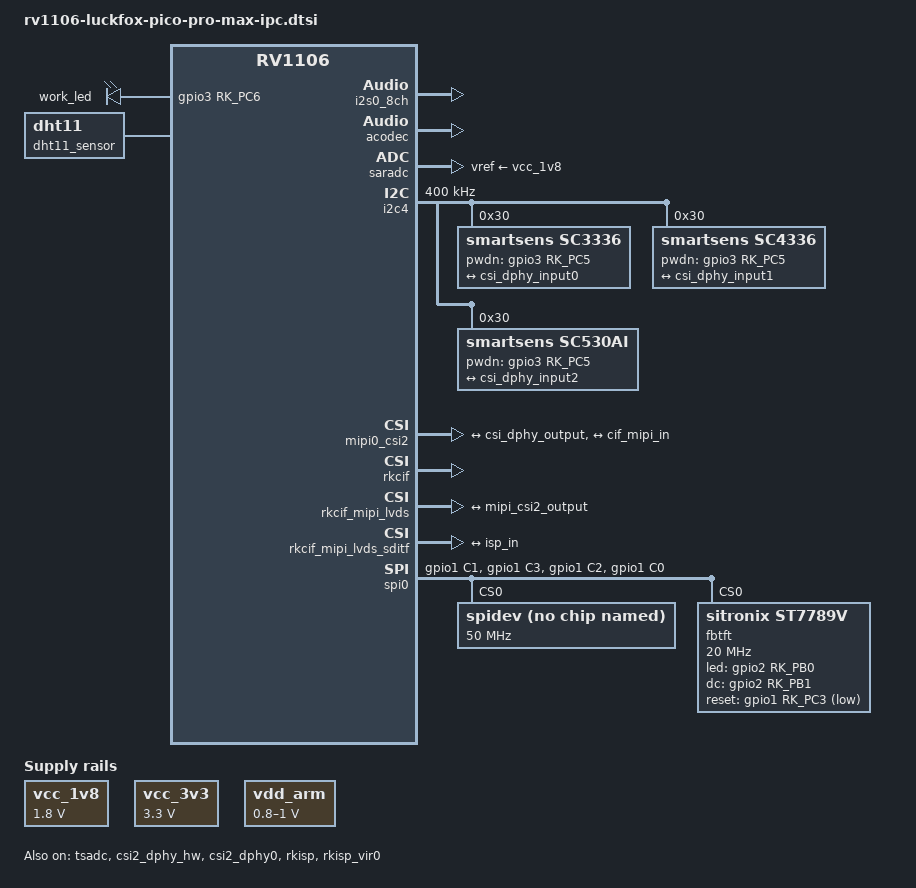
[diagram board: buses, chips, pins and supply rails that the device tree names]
// SPDX-License-Identifier: (GPL-2.0+ OR MIT)
/*
 * Copyright (c) 2022 Rockchip Electronics Co., Ltd.
 */
#include "rv1106-amp.dtsi"

/ {
	chosen {
		bootargs = "earlycon=uart8250,mmio32,0xff4c0000 console=ttyFIQ0 root=/dev/mmcblk1p7 rootwait snd_soc_core.prealloc_buffer_size_kbytes=16 coherent_pool=0";
	};

	acodec_sound: acodec-sound {
		compatible = "simple-audio-card";
		simple-audio-card,name = "rv-acodec";
		simple-audio-card,format = "i2s";
		simple-audio-card,mclk-fs = <256>;
		simple-audio-card,cpu {
			sound-dai = <&i2s0_8ch>;
		};
		simple-audio-card,codec {
			sound-dai = <&acodec>;
		};
	};

	vcc_1v8: vcc-1v8 {
		compatible = "regulator-fixed";
		regulator-name = "vcc_1v8";
		regulator-always-on;
		regulator-boot-on;
		regulator-min-microvolt = <1800000>;
		regulator-max-microvolt = <1800000>;
	};

	vcc_3v3: vcc-3v3 {
		compatible = "regulator-fixed";
		regulator-name = "vcc_3v3";
		regulator-always-on;
		regulator-boot-on;
		regulator-min-microvolt = <3300000>;
		regulator-max-microvolt = <3300000>;
	};

	vdd_arm: vdd-arm {
		compatible = "regulator-fixed";
		regulator-name = "vdd_arm";
		regulator-min-microvolt = <800000>;
		regulator-max-microvolt = <1000000>;
		regulator-init-microvolt = <900000>;
		regulator-always-on;
		regulator-boot-on;
	};
	leds: leds {
		compatible = "gpio-leds";
		work_led: work{
			gpios = <&gpio3 RK_PC6 GPIO_ACTIVE_HIGH>;
			linux,default-trigger = "activity";
			default-state = "on";
		};	
	};

	// DHT11
	dht11_sensor {
        compatible = "dht11";
        pinctrl-names = "default";
        pinctrl-0 = <&gpio1_pc7>;

        dht11@1 {
            gpios = <&gpio1 RK_PC7 GPIO_ACTIVE_HIGH>;
            label = "dht11";
            linux,default-trigger = "humidity";
        };
    };

};

/***************************** AUDIO ********************************/
&i2s0_8ch {
	#sound-dai-cells = <0>;
	status = "okay";
};

&acodec {
	#sound-dai-cells = <0>;
	pa-ctl-gpios = <&gpio1 RK_PA1 GPIO_ACTIVE_HIGH>;
	status = "okay";
};
/***************************** CPU ********************************/
&cpu0 {
	cpu-supply = <&vdd_arm>;
};

/***************************** ADC ********************************/
&saradc {
	status = "okay";
	vref-supply = <&vcc_1v8>;
};

&tsadc {
	status = "okay";
};

/***************************** CSI ********************************/
&csi2_dphy_hw {
	status = "okay";
};

&csi2_dphy0 {
	status = "okay";

	ports {
		#address-cells = <1>;
		#size-cells = <0>;

		port@0 {
			reg = <0>;
			#address-cells = <1>;
			#size-cells = <0>;

			csi_dphy_input0: endpoint@0 {
				reg = <0>;
				remote-endpoint = <&sc3336_out>;
				data-lanes = <1 2>;
			};

			csi_dphy_input1: endpoint@1 {
				reg = <1>;
				remote-endpoint = <&sc4336_out>;
				data-lanes = <1 2>;
			};

			csi_dphy_input2: endpoint@2 {
				reg = <2>;
				remote-endpoint = <&sc530ai_out>;
				data-lanes = <1 2>;
			};
		};

		port@1 {
			reg = <1>;
			#address-cells = <1>;
			#size-cells = <0>;

			csi_dphy_output: endpoint@0 {
				reg = <0>;
				remote-endpoint = <&mipi_csi2_input>;
			};
		};
	};
};

&i2c4 {
	status = "okay";
	clock-frequency = <400000>;
	pinctrl-names = "default";
	pinctrl-0 = <&i2c4m2_xfer>;

	sc3336: sc3336@30 {
		compatible = "smartsens,sc3336";
		status = "okay";
		reg = <0x30>;
		clocks = <&cru MCLK_REF_MIPI0>;
		clock-names = "xvclk";
		pwdn-gpios = <&gpio3 RK_PC5 GPIO_ACTIVE_HIGH>;
		pinctrl-names = "default";
		pinctrl-0 = <&mipi_refclk_out0>;
		rockchip,camera-module-index = <0>;
		rockchip,camera-module-facing = "back";
		rockchip,camera-module-name = "CMK-OT2119-PC1";
		rockchip,camera-module-lens-name = "30IRC-F16";
		port {
			sc3336_out: endpoint {
				remote-endpoint = <&csi_dphy_input0>;
				data-lanes = <1 2>;
			};
		};
	};

	sc4336: sc4336@30 {
		compatible = "smartsens,sc4336";
		status = "okay";
		reg = <0x30>;
		clocks = <&cru MCLK_REF_MIPI0>;
		clock-names = "xvclk";
		pwdn-gpios = <&gpio3 RK_PC5 GPIO_ACTIVE_HIGH>;
		pinctrl-names = "default";
		pinctrl-0 = <&mipi_refclk_out0>;
		rockchip,camera-module-index = <0>;
		rockchip,camera-module-facing = "back";
		rockchip,camera-module-name = "OT01";
		rockchip,camera-module-lens-name = "40IRC_F16";
		port {
			sc4336_out: endpoint {
				remote-endpoint = <&csi_dphy_input1>;
				data-lanes = <1 2>;
			};
		};
	};

	sc530ai: sc530ai@30 {
		compatible = "smartsens,sc530ai";
		status = "okay";
		reg = <0x30>;
		clocks = <&cru MCLK_REF_MIPI0>;
		clock-names = "xvclk";
		pwdn-gpios = <&gpio3 RK_PC5 GPIO_ACTIVE_HIGH>;
		pinctrl-names = "default";
		pinctrl-0 = <&mipi_refclk_out0>;
		rockchip,camera-module-index = <0>;
		rockchip,camera-module-facing = "back";
		rockchip,camera-module-name = "CMK-OT2115-PC1";
		rockchip,camera-module-lens-name = "30IRC-F16";
		port {
			sc530ai_out: endpoint {
				remote-endpoint = <&csi_dphy_input2>;
				data-lanes = <1 2>;
			};
		};
	};
};

&mipi0_csi2 {
	status = "okay";

	ports {
		#address-cells = <1>;
		#size-cells = <0>;

		port@0 {
			reg = <0>;
			#address-cells = <1>;
			#size-cells = <0>;

			mipi_csi2_input: endpoint@1 {
				reg = <1>;
				remote-endpoint = <&csi_dphy_output>;
			};
		};

		port@1 {
			reg = <1>;
			#address-cells = <1>;
			#size-cells = <0>;

			mipi_csi2_output: endpoint@0 {
				reg = <0>;
				remote-endpoint = <&cif_mipi_in>;
			};
		};
	};
};

&rkcif {
	status = "okay";
};

&rkcif_mipi_lvds {
	status = "okay";

	pinctrl-names = "default";
	pinctrl-0 = <&mipi_pins>;
	port {
		/* MIPI CSI-2 endpoint */
		cif_mipi_in: endpoint {
			remote-endpoint = <&mipi_csi2_output>;
		};
	};
};

&rkcif_mipi_lvds_sditf {
	status = "okay";

	port {
		/* MIPI CSI-2 endpoint */
		mipi_lvds_sditf: endpoint {
			remote-endpoint = <&isp_in>;
		};
	};
};

&rkisp {
	status = "okay";
};

&rkisp_vir0 {
	status = "okay";

	port@0 {
		isp_in: endpoint {
			remote-endpoint = <&mipi_lvds_sditf>;
		};
	};
};


/*****************************PINCTRL********************************/
// SPI
&spi0 {
	pinctrl-0 = <&spi0m0_clk &spi0m0_miso &spi0m0_mosi &spi0m0_cs0>;
	#address-cells = <1>;
	#size-cells = <0>;
	spidev@0 {
    compatible = "rockchip,spidev";
		spi-max-frequency = <50000000>;
		reg = <0>;
	};

  fbtft@0{
    compatible = "sitronix,st7789v";
    reg = <0>;
    spi-max-frequency = <20000000>;
    fps = <30>;
    buswidth = <8>;
    debug = <0x7>;
    led-gpios = <&gpio2 RK_PB0 GPIO_ACTIVE_HIGH>;//BL
    dc-gpios = <&gpio2 RK_PB1 GPIO_ACTIVE_HIGH>;      //DC
    reset-gpios = <&gpio1 RK_PC3 GPIO_ACTIVE_LOW>;    //RES
  };
};
// I2C
&i2c0 {
	pinctrl-0 = <&i2c0m2_xfer>;
};

&i2c1 {
	pinctrl-0 = <&i2c1m1_xfer>;
};

&i2c3 {
	pinctrl-0 = <&i2c3m1_xfer &i2c3m0_xfer>;
};

// &i2c4 {
//  pinctrl-0 = <&i2c4m0_xfer>;
// };

// UART
&uart0 {
	pinctrl-0 = <&uart0m0_xfer &uart0m1_xfer>;
};
&uart1 {
	pinctrl-0 = <&uart1m1_xfer>;
};
&uart3 {
	pinctrl-0 = <&uart3m1_xfer>;
};
&uart4 {
	pinctrl-0 = <&uart4m1_xfer>;
};
&uart5 {
	pinctrl-0 = <&uart5m0_xfer>;
};

// PWM
&pwm0 {
	pinctrl-0 = <&pwm0m1_pins>;
};
&pwm2 {
	pinctrl-0 = <&pwm2m2_pins>;
};
&pwm3 {
	pinctrl-0 = <&pwm3m2_pins>;
};
&pwm4 {
	pinctrl-0 = <&pwm4m2_pins>;
};
&pwm5 {
	pinctrl-0 = <&pwm5m2_pins>;
};
&pwm6 {
	pinctrl-0 = <&pwm6m1_pins &pwm6m2_pins>;
};
&pwm8 {
	pinctrl-0 = <&pwm8m1_pins>;
};
&pwm9 {
	pinctrl-0 = <&pwm9m1_pins>;
};
&pwm10 {
	pinctrl-0 = <&pwm10m1_pins &pwm10m2_pins>;
};
&pwm11 {
	pinctrl-0 = <&pwm11m1_pins>;
};

&pinctrl {
	spi0 {
		spi0m0_clk: spi0m0-clk {
			rockchip,pins = <1 RK_PC1 4 &pcfg_pull_none>;
		};
		spi0m0_mosi: spi0m0-mosi {
			rockchip,pins = <1 RK_PC2 6 &pcfg_pull_none>;
		};
		spi0m0_miso: spi0m0-miso {
			rockchip,pins = <1 RK_PC3 6 &pcfg_pull_none>;
		};
		spi0m0_cs0: spi0m0-cs0 {
			rockchip,pins = <1 RK_PC0 4 &pcfg_pull_none>;
		};
	};

    gpio1-pc7 {
        gpio1_pc7:gpio1-pc7 {
            rockchip,pins = <1 RK_PC7 RK_FUNC_GPIO &pcfg_pull_none>;
    };
	};
};


